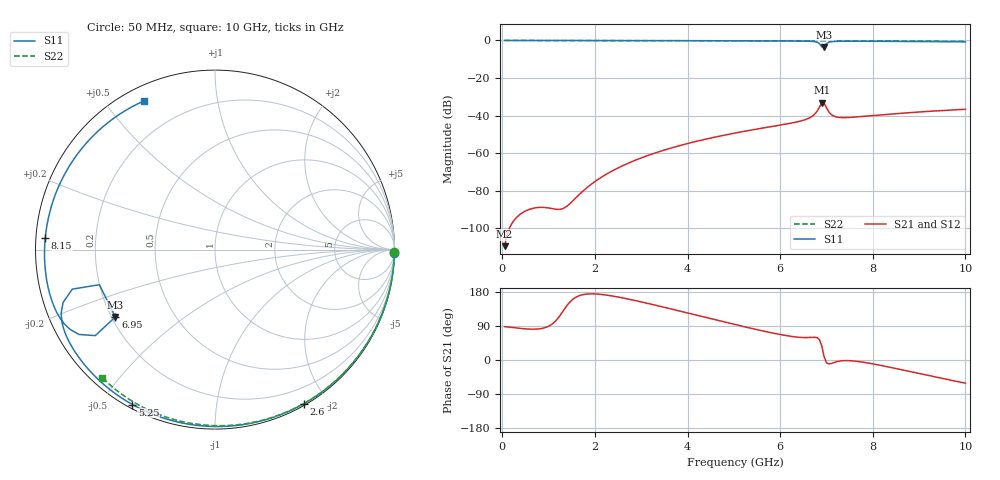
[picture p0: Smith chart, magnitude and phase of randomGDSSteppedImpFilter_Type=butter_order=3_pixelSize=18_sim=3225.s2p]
! freq	dB(S11)	phase(S11)	dB(S12)	phase(S12)
!  dB(S21)	phase(S21)	dB(S22)	phase(S22)
!S-par simulation data
#  GHz  S  DB  R 50
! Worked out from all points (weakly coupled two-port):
!   200 points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, 50 MHz to 10 GHz, reference 50 ohm
!   highest |S21| = -33.20 dB at 6.9 GHz (marker M1); lowest = -109.5 dB at 50 MHz (marker M2)
!   lowest |S11| = -3.5 dB at 6.95 GHz (marker M3), VSWR 5.07, Z = 10.8 - j14.7 ohm
!   |S11| at or under -10 dB: nowhere
!   |S22| runs from -0.4 to 0.0 dB; largest |S21 - S12| = 0
!   S11 on the Smith chart (normalised r, x): 50 MHz: 1, -95; 2.6 GHz: 0.02, -1.73; 5.25 GHz: 0.01, -0.60; 6.95 GHz: 0.22, -0.29; 8.15 GHz: 0.03, +0.03; 10 GHz: 0.06, +0.63
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0.05  -0.00 -1.2  -109.54 88.0  -109.54 88.0  -0.00 -0.8
0.85  -0.02 -20.1  -88.87 83.2  -88.87 83.2  -0.01 -12.8
1.75  -0.05 -40.9  -80.03 172.6  -80.03 172.6  -0.03 -26.2
2.15  -0.06 -50.0  -72.67 172.9  -72.67 172.9  -0.04 -32.0
2.6  -0.08 -60.1  -66.69 163.9  -66.69 163.9  -0.05 -38.5
3.4  -0.10 -77.8  -59.12 141.9  -59.12 141.9  -0.07 -49.8
4.2  -0.13 -95.2  -53.67 118.1  -53.67 118.1  -0.09 -60.8
5.05  -0.18 -113.6  -49.19 92.9  -49.19 92.9  -0.11 -72.1
5.25  -0.19 -118.0  -48.28 87.1  -48.28 87.1  -0.12 -74.7
6.15  -0.27 -138.6  -44.42 64.0  -44.42 64.0  -0.15 -86.2
6.5  -0.34 -147.9  -42.50 59.3  -42.50 59.3  -0.17 -90.5
6.7  -0.52 -155.1  -40.22 59.9  -40.22 59.9  -0.18 -93.0
6.85  -1.67 -164.5  -35.47 53.3  -35.47 53.3  -0.19 -94.8
6.9  -3.44 -163.1  -33.20 36.2  -33.20 36.2  -0.19 -95.4
6.95  -3.47 -145.9  -33.32 8.5  -33.32 8.5  -0.19 -96.0
7  -1.71 -144.3  -35.79 -7.2  -35.79 -7.2  -0.19 -96.6
7.1  -0.70 -151.2  -39.35 -9.3  -39.35 -9.3  -0.20 -97.8
7.2  -0.50 -156.0  -40.65 -5.1  -40.65 -5.1  -0.21 -99.0
8.15  -0.46 176.0  -39.68 -13.7  -39.68 -13.7  -0.27 -110.2
8.35  -0.49 170.4  -39.27 -18.6  -39.27 -18.6  -0.29 -112.6
9.2  -0.61 144.2  -37.76 -40.8  -37.76 -40.8  -0.36 -122.3
10  -0.74 115.7  -36.65 -61.0  -36.65 -61.0  -0.44 -131.3
